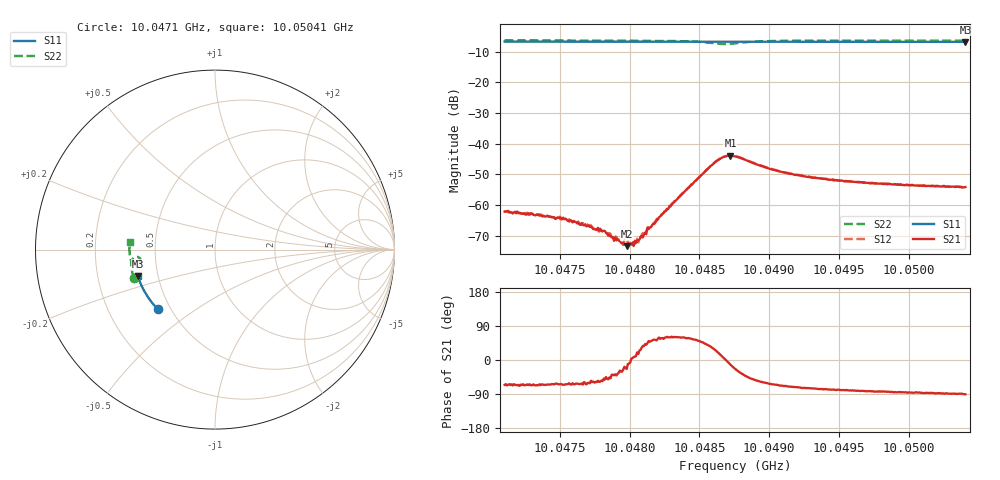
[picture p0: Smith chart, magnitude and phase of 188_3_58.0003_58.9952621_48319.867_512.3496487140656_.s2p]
#  HZ  S  RI  R  50.00
! Rohde & Schwarz Vector Network Analyzer
! Rohde-Schwarz,ZNB20-2Port,1311601062101988,3.16
! Created: UTC 3/21/2024, 12:58:44 AM
! freq[Hz]  re:S11  im:S11  re:S21  im:S21  re:S12  im:S12  re:S22  im:S22
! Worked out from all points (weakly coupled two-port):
!   401 points, 10.0471 GHz to 10.05041 GHz, reference 50 ohm
!   highest |S21| = -43.95 dB at 10.04872 GHz (marker M1); lowest = -73.4 dB at 10.04798 GHz (marker M2)
!   lowest |S11| = -6.8 dB at 10.05041 GHz (marker M3), VSWR 2.67, Z = 19.2 - j7.18 ohm
!   |S11| at or under -10 dB: nowhere
!   |S22| runs from -7.6 to -6.4 dB; largest |S21 - S12| = 0.00043
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1.0047102e10  -0.3179 -0.3331  0.000324 -0.000712  0.000351 -0.000689  -0.4515 -0.1609
1.004735e10  -0.3292 -0.3213  0.000292 -0.000607  0.000337 -0.000617  -0.4563 -0.1444
1.0047524e10  -0.3369 -0.3127  0.000254 -0.000548  0.000295 -0.000552  -0.4597 -0.1324
1.0047656e10  -0.3424 -0.3061  0.000238 -0.000447  0.000243 -0.000439  -0.4616 -0.1231
1.0047705e10  -0.3446 -0.3035  0.000227 -0.000405  0.000258 -0.000375  -0.4622 -0.1194
1.0047804e10  -0.3487 -0.2984  0.000213 -0.000313  0.00026 -0.000264  -0.4636 -0.1123
1.0047846e10  -0.3505 -0.2961  0.000198 -0.000245  0.000222 -0.000257  -0.4642 -0.1092
1.0047962e10  -0.3552 -0.2901  0.000214 -6.91e-05  0.000261 -6.47e-05  -0.4654 -0.1
1.0047978e10  -0.3559 -0.2893  0.000196 -8.47e-05  0.000219 -3.74e-05  -0.4655 -0.0988
1.0048011e10  -0.3573 -0.2876  0.000226 1.51e-05  0.000233 3.54e-05  -0.4658 -0.096
1.0048061e10  -0.3592 -0.2849  0.000257 7.19e-05  0.000221 0.000104  -0.4662 -0.0919
1.0048102e10  -0.3607 -0.2829  0.000268 0.000202  0.000226 0.000206  -0.4664 -0.0884
1.0048143e10  -0.3624 -0.2806  0.000285 0.000321  0.000282 0.000342  -0.4665 -0.0846
1.0048209e10  -0.3649 -0.2771  0.000319 0.000539  0.000316 0.000542  -0.4663 -0.0785
1.004859e10  -0.3787 -0.2559  0.00379 0.00242  0.00366 0.00268  -0.4332 -0.0405
1.0048656e10  -0.3808 -0.2523  0.00567 0.00122  0.00563 0.00154  -0.4171 -0.0507
1.0048722e10  -0.3829 -0.2488  0.00621 -0.00132  0.00631 -0.000961  -0.4161 -0.0719
1.0048755e10  -0.3843 -0.247  0.00569 -0.00244  0.00589 -0.00211  -0.4226 -0.0797
1.0049028e10  -0.3935 -0.2317  0.00163 -0.00338  0.00185 -0.00332  -0.4651 -0.0654
1.0049309e10  -0.4024 -0.2153  0.00073 -0.00269  0.000878 -0.0027  -0.4736 -0.0391
1.0049862e10  -0.4175 -0.1821  0.00023 -0.0022  0.000353 -0.0022  -0.4766 0.00325
1.0050408e10  -0.4296 -0.1483  -1.35e-05 -0.00196  0.000129 -0.00197  -0.4748 0.0412
